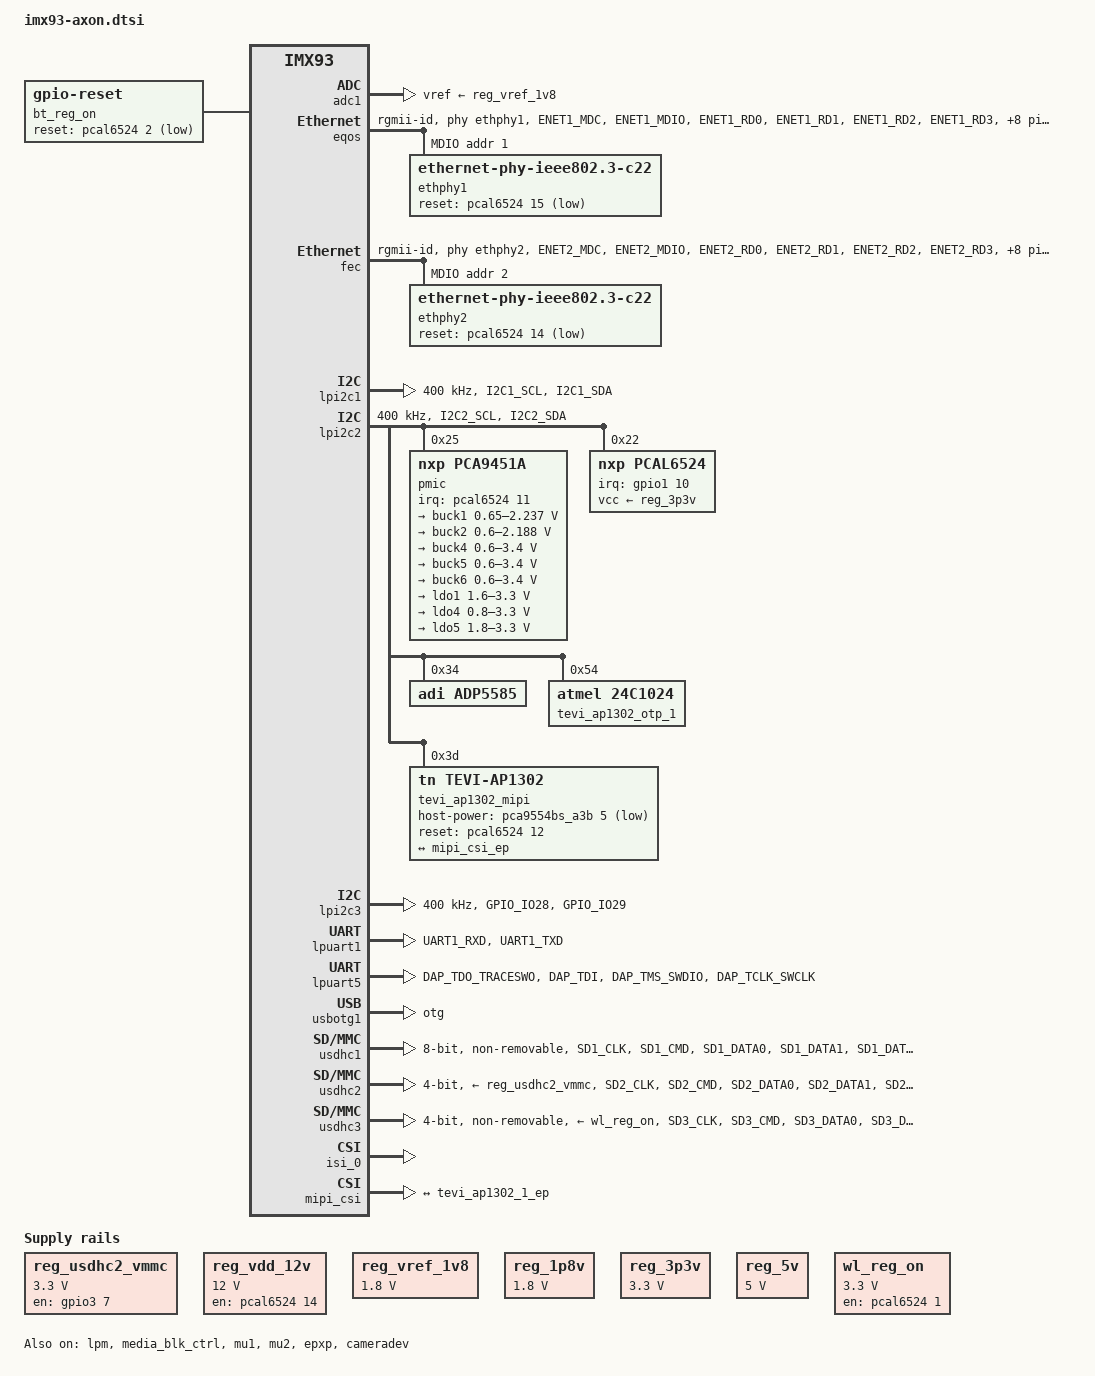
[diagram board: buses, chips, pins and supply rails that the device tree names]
// SPDX-License-Identifier: (GPL-2.0+ OR MIT)
/*
 * Copyright 2022 NXP
 */

/dts-v1/;

#include <dt-bindings/usb/pd.h>
#include "imx93.dtsi"

&ele_mu {
	memory-region = <&ele_reserved>;
};

/ {
	chosen {
		stdout-path = &lpuart1;
	};

	reserved-memory {
		#address-cells = <2>;
		#size-cells = <2>;
		ranges;

		linux,cma {
			compatible = "shared-dma-pool";
			reusable;
			alloc-ranges = <0 0x80000000 0 0x40000000>;
			size = <0 0x10000000>;
			linux,cma-default;
		};

		ethosu_mem: ethosu_region@C0000000 {
			compatible = "shared-dma-pool";
			reusable;
			reg = <0x0 0xC0000000 0x0 0x10000000>;
		};

		vdev0vring0: vdev0vring0@a4000000 {
			reg = <0 0xa4000000 0 0x8000>;
			no-map;
		};

		vdev0vring1: vdev0vring1@a4008000 {
			reg = <0 0xa4008000 0 0x8000>;
			no-map;
		};

		vdev1vring0: vdev1vring0@a4000000 {
			reg = <0 0xa4010000 0 0x8000>;
			no-map;
		};

		vdev1vring1: vdev1vring1@a4018000 {
			reg = <0 0xa4018000 0 0x8000>;
			no-map;
		};

		rsc_table: rsc-table@2021e000 {
			reg = <0 0x2021e000 0 0x1000>;
			no-map;
		};

		vdevbuffer: vdevbuffer@a4020000 {
			compatible = "shared-dma-pool";
			reg = <0 0xa4020000 0 0x100000>;
			no-map;
		};

		ele_reserved: ele-reserved@a4120000 {
			compatible = "shared-dma-pool";
			reg = <0 0xa4120000 0 0x100000>;
			no-map;
		};
	};

	cm33: imx93-cm33 {
		compatible = "fsl,imx93-cm33";
		mbox-names = "tx", "rx", "rxdb";
		mboxes = <&mu1 0 1
			  &mu1 1 1
			  &mu1 3 1>;
		memory-region = <&vdevbuffer>, <&vdev0vring0>, <&vdev0vring1>,
				<&vdev1vring0>, <&vdev1vring1>, <&rsc_table>;
		fsl,startup-delay-ms = <500>;
	};

	ethosu {
		compatible = "arm,ethosu";
		fsl,cm33-proc = <&cm33>;
		memory-region = <&ethosu_mem>;
		power-domains = <&mlmix>;
	};

	reg_usdhc2_vmmc: regulator-usdhc2 {
		compatible = "regulator-fixed";
		pinctrl-names = "default";
		pinctrl-0 = <&pinctrl_reg_usdhc2_vmmc>;
		regulator-name = "VSD_3V3";
		regulator-min-microvolt = <3300000>;
		regulator-max-microvolt = <3300000>;
		gpio = <&gpio3 7 GPIO_ACTIVE_HIGH>;
		off-on-delay-us = <12000>;
		enable-active-high;
	};

	reg_vdd_12v: regulator-vdd-12v {
		compatible = "regulator-fixed";
		regulator-name = "reg_vdd_12v";
		regulator-min-microvolt = <12000000>;
		regulator-max-microvolt = <12000000>;
		gpio = <&pcal6524 14 GPIO_ACTIVE_HIGH>;
		enable-active-high;
	};

	reg_vref_1v8: regulator-adc-vref {
		compatible = "regulator-fixed";
		regulator-name = "vref_1v8";
		regulator-min-microvolt = <1800000>;
		regulator-max-microvolt = <1800000>;
	};

	reg_1p8v: regulator-1p8v {
		compatible = "regulator-fixed";
		regulator-name = "1P8V";
		regulator-min-microvolt = <1800000>;
		regulator-max-microvolt = <1800000>;
		regulator-always-on;
	};

	reg_3p3v: regulator-3p3v {
		compatible = "regulator-fixed";
		regulator-name = "3P3V";
		regulator-min-microvolt = <3300000>;
		regulator-max-microvolt = <3300000>;
		regulator-always-on;
	};

	reg_5v: regulator-5v {
		compatible = "regulator-fixed";
		regulator-name = "5V";
		regulator-min-microvolt = <5000000>;
		regulator-max-microvolt = <5000000>;
		regulator-always-on;
	};

	wl_reg_on: wlreg_on {
		compatible = "regulator-fixed";
		regulator-name = "WL_REG_ON";
		regulator-min-microvolt = <3300000>;
		regulator-max-microvolt = <3300000>;
		gpio = <&pcal6524 1 GPIO_ACTIVE_HIGH>;
		off-on-delay = <20000>;
		startup-delay-us = <100>;
		enable-active-high;
	};

	bt_reg_on: btreg_on {
		compatible = "gpio-reset";
		reset-gpios = <&pcal6524 2 GPIO_ACTIVE_LOW>;
		reset-delay-us = <2000>;
		reset-post-delay-ms = <200>;
		#reset-cells = <0>;
	};
};

&sai1 {
	#sound-dai-cells = <0>;
	pinctrl-names = "default";
	pinctrl-0 = <&pinctrl_sai1>;
	assigned-clocks = <&clk IMX93_CLK_SAI1>;
	assigned-clock-parents = <&clk IMX93_CLK_AUDIO_PLL>;
	assigned-clock-rates = <12288000>;
//	fsl,sai-mclk-direction-output;
	status = "disabled";
};

&adc1 {
	vref-supply = <&reg_vref_1v8>;
	status = "okay";
};

&eqos {
	pinctrl-names = "default";
	pinctrl-0 = <&pinctrl_eqos>;
	phy-mode = "rgmii-id";
	phy-handle = <&ethphy1>;
	status = "okay";

	mdio {
		compatible = "snps,dwmac-mdio";
		#address-cells = <1>;
		#size-cells = <0>;
		clock-frequency = <5000000>;

		ethphy1: ethernet-phy@1 {
			/* Atheros AR8035 PHY */
			compatible = "ethernet-phy-ieee802.3-c22";
			reg = <1>;
			reset-gpios = <&pcal6524 15 GPIO_ACTIVE_LOW>;
			reset-assert-us = <35000>;
			reset-deassert-us = <75000>;
			eee-broken-1000t;
			at803x,eee-disabled;
			at803x,vddio-1p8v;
			realtek,aldps-disable;
			realtek,clkout-disable;
		};
	};
};

&fec {
	pinctrl-names = "default";
	pinctrl-0 = <&pinctrl_fec>;
	phy-mode = "rgmii-id";
	phy-handle = <&ethphy2>;
	fsl,magic-packet;
	status = "okay";

	mdio {
		#address-cells = <1>;
		#size-cells = <0>;
		clock-frequency = <5000000>;

		ethphy2: ethernet-phy@2 {
			/* Atheros AR8035 PHY */
			compatible = "ethernet-phy-ieee802.3-c22";
			reg = <2>;
			reset-gpios = <&pcal6524 14 GPIO_ACTIVE_LOW>;
			reset-assert-us = <35000>;
			reset-deassert-us = <75000>;
			eee-broken-1000t;
			at803x,eee-disabled;
			at803x,vddio-1p8v;
			realtek,aldps-disable;
			realtek,clkout-disable;
		};
	};
};

&lpm {
	soc-supply = <&buck1>;
	status = "okay";
};

&flexcan1 {
	pinctrl-names = "default";
	pinctrl-0 = <&pinctrl_flexcan1>;
	status = "disabled";
};

&dphy {
	status = "disabled";
};

&lpi2c1 {
	#address-cells = <1>;
	#size-cells = <0>;
	clock-frequency = <400000>;
	pinctrl-names = "default", "sleep";
	pinctrl-0 = <&pinctrl_lpi2c1>;
	pinctrl-1 = <&pinctrl_lpi2c1>;
	status = "okay";
};

&lpi2c2 {
	#address-cells = <1>;
	#size-cells = <0>;
	clock-frequency = <400000>;
	pinctrl-names = "default", "sleep";
	pinctrl-0 = <&pinctrl_lpi2c2>;
	pinctrl-1 = <&pinctrl_lpi2c2>;
	status = "okay";

	pmic@25 {
		compatible = "nxp,pca9451a";
		reg = <0x25>;
		interrupt-parent = <&pcal6524>;
		interrupts = <11 IRQ_TYPE_EDGE_FALLING>;

		regulators {
			buck1: BUCK1 {
				regulator-name = "BUCK1";
				regulator-min-microvolt = <650000>;
				regulator-max-microvolt = <2237500>;
				regulator-boot-on;
				regulator-always-on;
				regulator-ramp-delay = <3125>;
			};

			buck2: BUCK2 {
				regulator-name = "BUCK2";
				regulator-min-microvolt = <600000>;
				regulator-max-microvolt = <2187500>;
				regulator-boot-on;
				regulator-always-on;
				regulator-ramp-delay = <3125>;
			};

			buck4: BUCK4{
				regulator-name = "BUCK4";
				regulator-min-microvolt = <600000>;
				regulator-max-microvolt = <3400000>;
				regulator-boot-on;
				regulator-always-on;
			};

			buck5: BUCK5{
				regulator-name = "BUCK5";
				regulator-min-microvolt = <600000>;
				regulator-max-microvolt = <3400000>;
				regulator-boot-on;
				regulator-always-on;
			};

			buck6: BUCK6 {
				regulator-name = "BUCK6";
				regulator-min-microvolt = <600000>;
				regulator-max-microvolt = <3400000>;
				regulator-boot-on;
				regulator-always-on;
			};

			ldo1: LDO1 {
				regulator-name = "LDO1";
				regulator-min-microvolt = <1600000>;
				regulator-max-microvolt = <3300000>;
				regulator-boot-on;
				regulator-always-on;
			};

			ldo4: LDO4 {
				regulator-name = "LDO4";
				regulator-min-microvolt = <800000>;
				regulator-max-microvolt = <3300000>;
				regulator-boot-on;
				regulator-always-on;
			};

			ldo5: LDO5 {
				regulator-name = "LDO5";
				regulator-min-microvolt = <1800000>;
				regulator-max-microvolt = <3300000>;
				regulator-boot-on;
				regulator-always-on;
			};
		};
	};

	pcal6524: gpio@22 {
		compatible = "nxp,pcal6524";
		pinctrl-names = "default";
		pinctrl-0 = <&pinctrl_pcal6524>;
		vcc-supply = <&reg_3p3v>;
		reg = <0x22>;
		gpio-controller;
		#gpio-cells = <2>;
		interrupt-controller;
		#interrupt-cells = <2>;
		interrupt-parent = <&gpio1>;
		interrupts = <10 IRQ_TYPE_LEVEL_LOW>;
		gpio-line-names = "SPI_REG_ON", "WL_REG_ON", "BT_REG_ON", "WL_WAKE_HOST",
				"BT_WAKE_HOST", "HOST_WAKE_WL", "HOST_WAKE_BT", "EXP_BTN2",

				"P24_TOUCH_INT", "P67_NFC-INT", "P69", "PMIC_INTn",
				"P65_CSI1_RST", "SE_ENA", "ENET2_RSTn", "ENET1_RSTn",

				"P66_pca9554a3b-INT", "P68_typec-INT", "P70_VH-P32", "P72_tca9555a21-INT",
				"P74_VH-P15", "P76_VH-P22", "P78_USB_OTG_PWR_EN", "P80_VH-P36";
	};

	adp5585: mfd@34 {
		compatible = "adi,adp5585";
		reg = <0x34>;

		adp5585gpio: gpio@34 {
			compatible = "adp5585-gpio";
			gpio-controller;
			#gpio-cells = <2>;
			gpio-line-names = "P18_AUD_RST", "P20_TOUCH_nRST", "P22_USB_HUB_RESET", "PWM_P1_LVDS0_BL_PWM", "LCD_BKLEN",
					"P8_LVDS0_VDDEN", "PWM_P79_DISP0_BL_PWM", "P7_LVDS0_BLT_EN", "PWM_P39_VH-P11", "P71";
		};

		adp5585pwm: pwm@34 {
			compatible = "adp5585-pwm";
			#pwm-cells = <3>;
		};
	};

	tevi_ap1302_otp_1: tevi_ap1302_otp@54 {
		compatible = "atmel,24c1024";
		reg = <0x54>;
		pagesize = <256>;
		//read-only;
	};

	tevi_ap1302_mipi: tevi_ap1302_mipi@3d {
		compatible = "tn,tevi-ap1302";

		reg = <0x3d>;

		host-power-gpios = <&pca9554bs_a3b 5 GPIO_ACTIVE_LOW>;
		reset-gpios = <&pcal6524 12 GPIO_ACTIVE_HIGH>;
//		device-power-gpios = <&tca9555_a21 0 GPIO_ACTIVE_HIGH>;
//		standby-gpios = <&tca9555_a21 2 GPIO_ACTIVE_HIGH>;
		nvmem = <&tevi_ap1302_otp_1>;
		nvmem-names = "calib-data";
		data-lanes = <2>;
		continuous-clock = <0>;
		supports-over-4k-res;
		status = "okay";

		port {
			tevi_ap1302_1_ep: endpoint {
				remote-endpoint = <&mipi_csi_ep>;
			};
		};
	};
};

&lpi2c3 {
	#address-cells = <1>;
	#size-cells = <0>;
	clock-frequency = <400000>;
	pinctrl-names = "default", "sleep";
	pinctrl-0 = <&pinctrl_lpi2c3>;
	pinctrl-1 = <&pinctrl_lpi2c3>;
	status = "okay";
};

&lpuart1 { /* console */
	pinctrl-names = "default";
	pinctrl-0 = <&pinctrl_uart1>;
	status = "okay";
};

/* BT */
&lpuart5 {
	pinctrl-names = "default";
	pinctrl-0 = <&pinctrl_uart5>;
	assigned-clocks = <&clk IMX93_CLK_LPUART5>;
	assigned-clock-parents = <&clk IMX93_CLK_24M>;
	fsl,uart-has-rtscts;
	resets = <&bt_reg_on>;
	status = "okay";
};

&media_blk_ctrl {
	status = "okay";
};

&mu1 {
	status = "okay";
};

&mu2 {
	status = "okay";
};

&usbotg1 {
	dr_mode = "otg";
	hnp-disable;
	srp-disable;
	adp-disable;
	usb-role-switch;
	disable-over-current;
	samsung,picophy-pre-emp-curr-control = <3>;
	samsung,picophy-dc-vol-level-adjust = <7>;
	status = "okay";
};

&usdhc1 {
	pinctrl-names = "default", "state_100mhz", "state_200mhz";
	pinctrl-0 = <&pinctrl_usdhc1>;
	pinctrl-1 = <&pinctrl_usdhc1_100mhz>;
	pinctrl-2 = <&pinctrl_usdhc1_200mhz>;
	bus-width = <8>;
	non-removable;
	status = "okay";
};

&usdhc2 {
	pinctrl-names = "default", "state_100mhz", "state_200mhz";
	pinctrl-0 = <&pinctrl_usdhc2>, <&pinctrl_usdhc2_gpio>;
	pinctrl-1 = <&pinctrl_usdhc2_100mhz>, <&pinctrl_usdhc2_gpio>;
	pinctrl-2 = <&pinctrl_usdhc2_200mhz>, <&pinctrl_usdhc2_gpio>;
	cd-gpios = <&gpio3 00 GPIO_ACTIVE_LOW>;
	vmmc-supply = <&reg_usdhc2_vmmc>;
	bus-width = <4>;
	status = "okay";
	no-sdio;
	no-mmc;
};

/* WIFI SDIO */
&usdhc3 {
	assigned-clocks = <&clk IMX93_CLK_USDHC3>;
	assigned-clock-rates = <100000000>;
	pinctrl-names = "default", "state_100mhz", "state_200mhz";
	pinctrl-0 = <&pinctrl_usdhc3>;
	pinctrl-1 = <&pinctrl_usdhc3_100mhz>;
	pinctrl-2 = <&pinctrl_usdhc3_200mhz>;
	vmmc-supply = <&wl_reg_on>;
	bus-width = <4>;
	pm-ignore-notify;
	keep-power-in-suspend;
	non-removable;
	status = "okay";
};

&iomuxc {
	pinctrl_lpi2c1: lpi2c1grp {
		fsl,pins = <
			MX93_PAD_I2C1_SCL__LPI2C1_SCL			0x40000b9e
			MX93_PAD_I2C1_SDA__LPI2C1_SDA			0x40000b9e
		>;
	};

	pinctrl_lpi2c2: lpi2c2grp {
		fsl,pins = <
			MX93_PAD_I2C2_SCL__LPI2C2_SCL			0x40000b9e
			MX93_PAD_I2C2_SDA__LPI2C2_SDA			0x40000b9e
		>;
	};

	pinctrl_lpi2c3: lpi2c3grp {
		fsl,pins = <
			MX93_PAD_GPIO_IO28__LPI2C3_SDA			0x40000b9e
			MX93_PAD_GPIO_IO29__LPI2C3_SCL			0x40000b9e
		>;
	};

	pinctrl_pcal6524: pcal6524grp {
		fsl,pins = <
			MX93_PAD_PDM_BIT_STREAM1__GPIO1_IO10			0x31e
		>;
	};

	pinctrl_eqos: eqosgrp {
		fsl,pins = <
			MX93_PAD_ENET1_MDC__ENET_QOS_MDC			0x57e
			MX93_PAD_ENET1_MDIO__ENET_QOS_MDIO			0x57e
			MX93_PAD_ENET1_RD0__ENET_QOS_RGMII_RD0			0x57e
			MX93_PAD_ENET1_RD1__ENET_QOS_RGMII_RD1			0x57e
			MX93_PAD_ENET1_RD2__ENET_QOS_RGMII_RD2			0x57e
			MX93_PAD_ENET1_RD3__ENET_QOS_RGMII_RD3			0x57e
			MX93_PAD_ENET1_RXC__CCM_ENET_QOS_CLOCK_GENERATE_RX_CLK	0x5fe
			MX93_PAD_ENET1_RX_CTL__ENET_QOS_RGMII_RX_CTL		0x57e
			MX93_PAD_ENET1_TD0__ENET_QOS_RGMII_TD0			0x57e
			MX93_PAD_ENET1_TD1__ENET_QOS_RGMII_TD1			0x57e
			MX93_PAD_ENET1_TD2__ENET_QOS_RGMII_TD2			0x57e
			MX93_PAD_ENET1_TD3__ENET_QOS_RGMII_TD3			0x57e
			MX93_PAD_ENET1_TXC__CCM_ENET_QOS_CLOCK_GENERATE_TX_CLK	0x5fe
			MX93_PAD_ENET1_TX_CTL__ENET_QOS_RGMII_TX_CTL		0x57e
		>;
	};

	pinctrl_fec: fecgrp {
		fsl,pins = <
			MX93_PAD_ENET2_MDC__ENET1_MDC			0x57e
			MX93_PAD_ENET2_MDIO__ENET1_MDIO			0x57e
			MX93_PAD_ENET2_RD0__ENET1_RGMII_RD0		0x57e
			MX93_PAD_ENET2_RD1__ENET1_RGMII_RD1		0x57e
			MX93_PAD_ENET2_RD2__ENET1_RGMII_RD2		0x57e
			MX93_PAD_ENET2_RD3__ENET1_RGMII_RD3		0x57e
			MX93_PAD_ENET2_RXC__ENET1_RGMII_RXC		0x5fe
			MX93_PAD_ENET2_RX_CTL__ENET1_RGMII_RX_CTL	0x57e
			MX93_PAD_ENET2_TD0__ENET1_RGMII_TD0		0x57e
			MX93_PAD_ENET2_TD1__ENET1_RGMII_TD1		0x57e
			MX93_PAD_ENET2_TD2__ENET1_RGMII_TD2		0x57e
			MX93_PAD_ENET2_TD3__ENET1_RGMII_TD3		0x57e
			MX93_PAD_ENET2_TXC__ENET1_RGMII_TXC		0x5fe
			MX93_PAD_ENET2_TX_CTL__ENET1_RGMII_TX_CTL	0x57e
		>;
	};

	pinctrl_lcdif: lcdifgrp {
		fsl,pins = <
			MX93_PAD_GPIO_IO00__MEDIAMIX_DISP_CLK		0x31e
			MX93_PAD_GPIO_IO01__MEDIAMIX_DISP_DE		0x31e
			MX93_PAD_GPIO_IO02__MEDIAMIX_DISP_VSYNC	0x31e
			MX93_PAD_GPIO_IO03__MEDIAMIX_DISP_HSYNC	0x31e
			MX93_PAD_GPIO_IO04__MEDIAMIX_DISP_DATA00	0x31e
			MX93_PAD_GPIO_IO05__MEDIAMIX_DISP_DATA01	0x31e
			MX93_PAD_GPIO_IO06__MEDIAMIX_DISP_DATA02	0x31e
			MX93_PAD_GPIO_IO07__MEDIAMIX_DISP_DATA03	0x31e
			MX93_PAD_GPIO_IO08__MEDIAMIX_DISP_DATA04	0x31e
			MX93_PAD_GPIO_IO09__MEDIAMIX_DISP_DATA05	0x31e
			MX93_PAD_GPIO_IO10__MEDIAMIX_DISP_DATA06	0x31e
			MX93_PAD_GPIO_IO11__MEDIAMIX_DISP_DATA07	0x31e
			MX93_PAD_GPIO_IO12__MEDIAMIX_DISP_DATA08	0x31e
			MX93_PAD_GPIO_IO13__MEDIAMIX_DISP_DATA09	0x31e
			MX93_PAD_GPIO_IO14__MEDIAMIX_DISP_DATA10	0x31e
			MX93_PAD_GPIO_IO15__MEDIAMIX_DISP_DATA11	0x31e
			MX93_PAD_GPIO_IO16__MEDIAMIX_DISP_DATA12	0x31e
			MX93_PAD_GPIO_IO17__MEDIAMIX_DISP_DATA13	0x31e
			MX93_PAD_GPIO_IO18__MEDIAMIX_DISP_DATA14	0x31e
			MX93_PAD_GPIO_IO19__MEDIAMIX_DISP_DATA15	0x31e
			MX93_PAD_GPIO_IO20__MEDIAMIX_DISP_DATA16	0x31e
			MX93_PAD_GPIO_IO21__MEDIAMIX_DISP_DATA17	0x31e
			MX93_PAD_GPIO_IO22__MEDIAMIX_DISP_DATA18	0x31e
			MX93_PAD_GPIO_IO23__MEDIAMIX_DISP_DATA19	0x31e
			MX93_PAD_GPIO_IO24__MEDIAMIX_DISP_DATA20	0x31e
			MX93_PAD_GPIO_IO25__MEDIAMIX_DISP_DATA21	0x31e
			MX93_PAD_GPIO_IO26__MEDIAMIX_DISP_DATA22	0x31e
			MX93_PAD_GPIO_IO27__MEDIAMIX_DISP_DATA23	0x31e
		>;
	};

	pinctrl_uart1: uart1grp {
		fsl,pins = <
			MX93_PAD_UART1_RXD__LPUART1_RX			0x31e
			MX93_PAD_UART1_TXD__LPUART1_TX			0x31e
		>;
	};

	pinctrl_uart5: uart5grp {
		fsl,pins = <
			MX93_PAD_DAP_TDO_TRACESWO__LPUART5_TX	0x31e
			MX93_PAD_DAP_TDI__LPUART5_RX		0x31e
			MX93_PAD_DAP_TMS_SWDIO__LPUART5_RTS_B	0x31e
			MX93_PAD_DAP_TCLK_SWCLK__LPUART5_CTS_B	0x31e
		>;
	};

	/* need to config the SION for data and cmd pad, refer to ERR052021 */
	pinctrl_usdhc1: usdhc1grp {
		fsl,pins = <
			MX93_PAD_SD1_CLK__USDHC1_CLK		0x1582
			MX93_PAD_SD1_CMD__USDHC1_CMD		0x40001382
			MX93_PAD_SD1_DATA0__USDHC1_DATA0	0x40001382
			MX93_PAD_SD1_DATA1__USDHC1_DATA1	0x40001382
			MX93_PAD_SD1_DATA2__USDHC1_DATA2	0x40001382
			MX93_PAD_SD1_DATA3__USDHC1_DATA3	0x40001382
			MX93_PAD_SD1_DATA4__USDHC1_DATA4	0x40001382
			MX93_PAD_SD1_DATA5__USDHC1_DATA5	0x40001382
			MX93_PAD_SD1_DATA6__USDHC1_DATA6	0x40001382
			MX93_PAD_SD1_DATA7__USDHC1_DATA7	0x40001382
			MX93_PAD_SD1_STROBE__USDHC1_STROBE	0x1582
		>;
	};

	/* need to config the SION for data and cmd pad, refer to ERR052021 */
	pinctrl_usdhc1_100mhz: usdhc1-100mhzgrp {
		fsl,pins = <
			MX93_PAD_SD1_CLK__USDHC1_CLK		0x158e
			MX93_PAD_SD1_CMD__USDHC1_CMD		0x4000138e
			MX93_PAD_SD1_DATA0__USDHC1_DATA0	0x4000138e
			MX93_PAD_SD1_DATA1__USDHC1_DATA1	0x4000138e
			MX93_PAD_SD1_DATA2__USDHC1_DATA2	0x4000138e
			MX93_PAD_SD1_DATA3__USDHC1_DATA3	0x4000138e
			MX93_PAD_SD1_DATA4__USDHC1_DATA4	0x4000138e
			MX93_PAD_SD1_DATA5__USDHC1_DATA5	0x4000138e
			MX93_PAD_SD1_DATA6__USDHC1_DATA6	0x4000138e
			MX93_PAD_SD1_DATA7__USDHC1_DATA7	0x4000138e
			MX93_PAD_SD1_STROBE__USDHC1_STROBE	0x158e
		>;
	};

	/* need to config the SION for data and cmd pad, refer to ERR052021 */
	pinctrl_usdhc1_200mhz: usdhc1-200mhzgrp {
		fsl,pins = <
			MX93_PAD_SD1_CLK__USDHC1_CLK		0x15fe
			MX93_PAD_SD1_CMD__USDHC1_CMD		0x400013fe
			MX93_PAD_SD1_DATA0__USDHC1_DATA0	0x400013fe
			MX93_PAD_SD1_DATA1__USDHC1_DATA1	0x400013fe
			MX93_PAD_SD1_DATA2__USDHC1_DATA2	0x400013fe
			MX93_PAD_SD1_DATA3__USDHC1_DATA3	0x400013fe
			MX93_PAD_SD1_DATA4__USDHC1_DATA4	0x400013fe
			MX93_PAD_SD1_DATA5__USDHC1_DATA5	0x400013fe
			MX93_PAD_SD1_DATA6__USDHC1_DATA6	0x400013fe
			MX93_PAD_SD1_DATA7__USDHC1_DATA7	0x400013fe
			MX93_PAD_SD1_STROBE__USDHC1_STROBE	0x15fe
		>;
	};

	pinctrl_reg_usdhc2_vmmc: regusdhc2vmmcgrp {
		fsl,pins = <
			MX93_PAD_SD2_RESET_B__GPIO3_IO07	0x31e
		>;
	};

	pinctrl_usdhc2_gpio: usdhc2gpiogrp {
		fsl,pins = <
			MX93_PAD_SD2_CD_B__GPIO3_IO00		0x31e
		>;
	};

	/* need to config the SION for data and cmd pad, refer to ERR052021 */
	pinctrl_usdhc2: usdhc2grp {
		fsl,pins = <
			MX93_PAD_SD2_CLK__USDHC2_CLK		0x1582
			MX93_PAD_SD2_CMD__USDHC2_CMD		0x40001382
			MX93_PAD_SD2_DATA0__USDHC2_DATA0	0x40001382
			MX93_PAD_SD2_DATA1__USDHC2_DATA1	0x40001382
			MX93_PAD_SD2_DATA2__USDHC2_DATA2	0x40001382
			MX93_PAD_SD2_DATA3__USDHC2_DATA3	0x40001382
			MX93_PAD_SD2_VSELECT__USDHC2_VSELECT	0x51e
		>;
	};

	/* need to config the SION for data and cmd pad, refer to ERR052021 */
	pinctrl_usdhc2_100mhz: usdhc2-100mhzgrp {
		fsl,pins = <
			MX93_PAD_SD2_CLK__USDHC2_CLK		0x158e
			MX93_PAD_SD2_CMD__USDHC2_CMD		0x4000138e
			MX93_PAD_SD2_DATA0__USDHC2_DATA0	0x4000138e
			MX93_PAD_SD2_DATA1__USDHC2_DATA1	0x4000138e
			MX93_PAD_SD2_DATA2__USDHC2_DATA2	0x4000138e
			MX93_PAD_SD2_DATA3__USDHC2_DATA3	0x4000138e
			MX93_PAD_SD2_VSELECT__USDHC2_VSELECT	0x51e
		>;
	};

	/* need to config the SION for data and cmd pad, refer to ERR052021 */
	pinctrl_usdhc2_200mhz: usdhc2-200mhzgrp {
		fsl,pins = <
			MX93_PAD_SD2_CLK__USDHC2_CLK		0x15fe
			MX93_PAD_SD2_CMD__USDHC2_CMD		0x400013fe
			MX93_PAD_SD2_DATA0__USDHC2_DATA0	0x400013fe
			MX93_PAD_SD2_DATA1__USDHC2_DATA1	0x400013fe
			MX93_PAD_SD2_DATA2__USDHC2_DATA2	0x400013fe
			MX93_PAD_SD2_DATA3__USDHC2_DATA3	0x400013fe
			MX93_PAD_SD2_VSELECT__USDHC2_VSELECT	0x51e
		>;
	};

	/* need to config the SION for data and cmd pad, refer to ERR052021 */
	pinctrl_usdhc3: usdhc3grp {
		fsl,pins = <
			MX93_PAD_SD3_CLK__USDHC3_CLK		0x1582
			MX93_PAD_SD3_CMD__USDHC3_CMD		0x40001382
			MX93_PAD_SD3_DATA0__USDHC3_DATA0	0x40001382
			MX93_PAD_SD3_DATA1__USDHC3_DATA1	0x40001382
			MX93_PAD_SD3_DATA2__USDHC3_DATA2	0x40001382
			MX93_PAD_SD3_DATA3__USDHC3_DATA3	0x40001382
		>;
	};

	/* need to config the SION for data and cmd pad, refer to ERR052021 */
	pinctrl_usdhc3_100mhz: usdhc3-100mhzgrp {
		fsl,pins = <
			MX93_PAD_SD3_CLK__USDHC3_CLK		0x158e
			MX93_PAD_SD3_CMD__USDHC3_CMD		0x4000138e
			MX93_PAD_SD3_DATA0__USDHC3_DATA0	0x4000138e
			MX93_PAD_SD3_DATA1__USDHC3_DATA1	0x4000138e
			MX93_PAD_SD3_DATA2__USDHC3_DATA2	0x4000138e
			MX93_PAD_SD3_DATA3__USDHC3_DATA3	0x4000138e
		>;
	};

	/* need to config the SION for data and cmd pad, refer to ERR052021 */
	pinctrl_usdhc3_200mhz: usdhc3-200mhzgrp {
		fsl,pins = <
			MX93_PAD_SD3_CLK__USDHC3_CLK		0x15fe
			MX93_PAD_SD3_CMD__USDHC3_CMD		0x400013fe
			MX93_PAD_SD3_DATA0__USDHC3_DATA0	0x400013fe
			MX93_PAD_SD3_DATA1__USDHC3_DATA1	0x400013fe
			MX93_PAD_SD3_DATA2__USDHC3_DATA2	0x400013fe
			MX93_PAD_SD3_DATA3__USDHC3_DATA3	0x400013fe
		>;
	};

	pinctrl_sai1: sai1grp {
		fsl,pins = <
			MX93_PAD_SAI1_TXC__SAI1_TX_BCLK			0x31e
			MX93_PAD_SAI1_TXFS__SAI1_TX_SYNC		0x31e
			MX93_PAD_SAI1_TXD0__SAI1_TX_DATA00		0x31e
			MX93_PAD_SAI1_RXD0__SAI1_RX_DATA00		0x31e
		>;
	};

	pinctrl_flexcan1: flexcan1grp {
		fsl,pins = <
			MX93_PAD_PDM_CLK__CAN1_TX			0x139e
			MX93_PAD_PDM_BIT_STREAM0__CAN1_RX		0x139e
		>;
	};
};

&epxp {
	status = "okay";
};

&cameradev {
	status = "okay";
};

&isi_0 {
	status = "okay";

	cap_device {
		status = "okay";
	};
};

&mipi_csi {
	#address-cells = <1>;
	#size-cells = <0>;
	status = "okay";

	port@0 {
		reg = <0>;
		mipi_csi_ep: endpoint {
			remote-endpoint = <&tevi_ap1302_1_ep>;
			data-lanes = <4>;
			cfg-clk-range = <28>;
			hs-clk-range = <0x2b>;
			bus-type = <4>;
		};
	};
};
